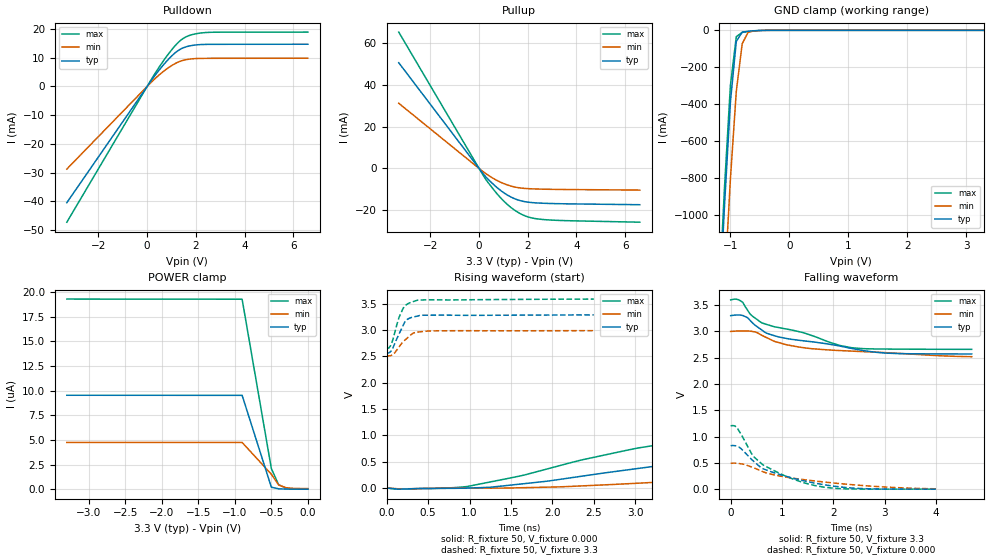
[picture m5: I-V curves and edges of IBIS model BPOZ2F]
| [Copyright] Public Sample
| From sample1.ibs, WXY123, Company_ABC
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|   Model BPOZ2F
[Model]   BPOZ2F
Model_type   3-state
Polarity   Non-Inverting
Enable   Active-High
Vmeas   = 1.65V
Cref   = 10pF
Vref   = 0V
Rref   = 1Mohms
C_comp   1.25pF  NA   NA
[Temperature Range]   25   125   0
[Voltage Range]   3.3V   3.0V   3.6V
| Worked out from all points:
|   slope of the pulldown table from 0 to 0.495 V, typ, clamps not added: 86.7 ohm
|   slope of the pullup table from 0 to 0.495 V, typ, clamps not added: 75.4 ohm
|   GND clamp passes 1 mA (typ) near -0.52 V on its own axis
|   rising waveform, R_fixture 50, V_fixture 0.000: 20-80 % time 2.85ns typ, 4.35ns min, 2.31ns max; typ from 0 V to 0.827 V
|   rising waveform, R_fixture 50, V_fixture 3.3: 20-80 % time 127ps typ, 165ps min, 117ps max; typ from 2.57 V to 3.29 V
|   falling waveform, R_fixture 50, V_fixture 3.3: 20-80 % time 1.72ns typ, 1.93ns min, 1.46ns max; typ from 3.3 V to 2.57 V
|   falling waveform, R_fixture 50, V_fixture 0.000: 20-80 % time 1.08ns typ, 1.67ns min, 842ps max; typ from 0.828 V to 0.001 V
[Pulldown]
| voltage   I(typ)   I(min)   I(max)
-3.3V     -40.42mA   -28.74mA   -47.21mA
300mV     3.568mA    2.518mA    4.19mA
900mV     9.665mA    6.65mA     11.58mA
1.2V      12.01mA    8.165mA    14.63mA
1.4V      13.1mA     8.861mA    16.2mA
1.6V      13.77mA    9.295mA    17.25mA
1.8V      14.17mA    9.547mA    17.89mA
2.4V      14.6mA     9.75mA     18.72mA
6.6V      14.66mA    9.793mA    18.88mA
[Pullup]
| voltage   I(typ)   I(min)   I(max)
-3.3V     50.57mA    31.18mA    65.22mA
200mV     -2.994mA   -1.823mA   -3.875mA
300mV     -4.37mA    -2.657mA   -5.678mA
800mV     -9.759mA   -6.126mA   -12.97mA
1.3V      -13.61mA   -8.393mA   -18.58mA
1.6V      -15.08mA   -9.174mA   -21.01mA
1.9V      -15.93mA   -9.571mA   -22.72mA
2.5V      -16.57mA   -9.876mA   -24.27mA
3.5V      -16.9mA    -10.06mA   -24.94mA
6.6V      -17.34mA   -10.34mA   -25.7mA
| voltage   I(typ)   I(min)   I(max)
[GND Clamp]
-3.3V     -16.58A    -16.78A    -16.66A
-1.2V     -1.583A    -2.021A    -1.492A
-1.1V     -947.2mA   -1.389A    -849.8mA
-1V       -387.9mA   -804.9mA   -298.8mA
-900mV    -60.13mA   -330.4mA   -34.44mA
-800mV    -9.812mA   -73.16mA   -11.08mA
-700mV    -5.132mA   -10.39mA   -6.64mA
-500mV    -584.2uA   -1.131mA   -841uA
3.3V      2.185nA    150nA      8.002nA
[POWER Clamp]
|  voltage   I(typ)   I(min)   I(max)
-3.3V     9.534uA    4.747uA    19.3uA
-900mV    9.525uA    4.742uA    19.28uA
-500mV    204.5nA    1.518uA    2.097uA
-400mV    37.11nA    427.6nA    451.1nA
-300mV    9.371nA    150nA      107.8nA
0V        2.185nA    62.48nA    8.581nA
| variable   typ   min   max
[Ramp]
dV/dt_r  0.496076V/2.85438ns   0.290822V/4.35287ns   0.72354V/2.3076ns
dV/dt_f  0.4374V/1.72267ns   0.28812V/1.93233ns   0.56418V/1.46112ns
R_load   = 50
[Rising Waveform]
R_fixture   = 50
V_fixture   = 0.000
V_fixture_min   = 0.000
V_fixture_max   = 0.000
| time   V(typ)   V(min)   V(max)
0s        0V         0V         0V
138ps     -20.77mV   -14.26mV   -21.34mV
966ps     -1.779mV   -3.078mV   27.48mV
1.932ns   129.2mV    16.76mV    360.8mV
3.036ns   372.7mV    92.36mV    761.9mV
3.726ns   501.7mV    149.1mV    928.5mV
5.106ns   675.6mV    256.3mV    1.104V
6.762ns   771mV      357.6mV    1.175V
8.418ns   806mV      420.4mV    1.197V
13.8ns    826.8mV    484.7mV    1.206V
[Rising Waveform]
R_fixture   = 50
V_fixture   = 3.3
V_fixture_min   = 3.0
V_fixture_max   = 3.6
| time   V(typ)   V(min)   V(max)
0s        2.569V     2.512V     2.659V
25ps      2.567V     2.511V     2.659V
50ps      2.596V     2.516V     2.711V
150ps     2.93V      2.682V     3.248V
200ps     3.095V     2.784V     3.418V
225ps     3.178V     2.818V     3.469V
250ps     3.206V     2.853V     3.498V
325ps     3.251V     2.947V     3.545V
375ps     3.269V     2.964V     3.57V
2.5ns     3.29V      2.991V     3.591V
[Falling Waveform]
R_fixture   = 50
V_fixture   = 3.3
V_fixture_min   = 3.0
V_fixture_max   = 3.6
| time   V(typ)   V(min)   V(max)
0s        3.3V       3V         3.6V
94ps      3.312V     3.007V     3.616V
235ps     3.304V     3.009V     3.556V
376ps     3.214V     3.007V     3.335V
611ps     3.024V     2.924V     3.162V
705ps     2.964V     2.88V      3.133V
1.128ns   2.859V     2.74V      3.039V
2.162ns   2.716V     2.635V     2.727V
3.055ns   2.587V     2.595V     2.665V
4.7ns     2.571V     2.52V      2.66V
[Falling Waveform]
R_fixture   = 50
V_fixture   = 0.000
V_fixture_min   = 0.000
V_fixture_max   = 0.000
| time   V(typ)   V(min)   V(max)
0s        827.7mV    493.9mV    1.206V
120ps     820mV      492.4mV    1.176V
200ps     774.3mV    482.2mV    1.048V
440ps     538.4mV    409.9mV    626.3mV
640ps     385.2mV    327.6mV    455.8mV
1.04ns    255mV      235.8mV    261.5mV
1.44ns    156.4mV    179.7mV    118.3mV
1.84ns    81.64mV    134.3mV    35.08mV
2.4ns     19.56mV    82.72mV    3.41mV
4ns       569uV      7.226mV    227.2uV
